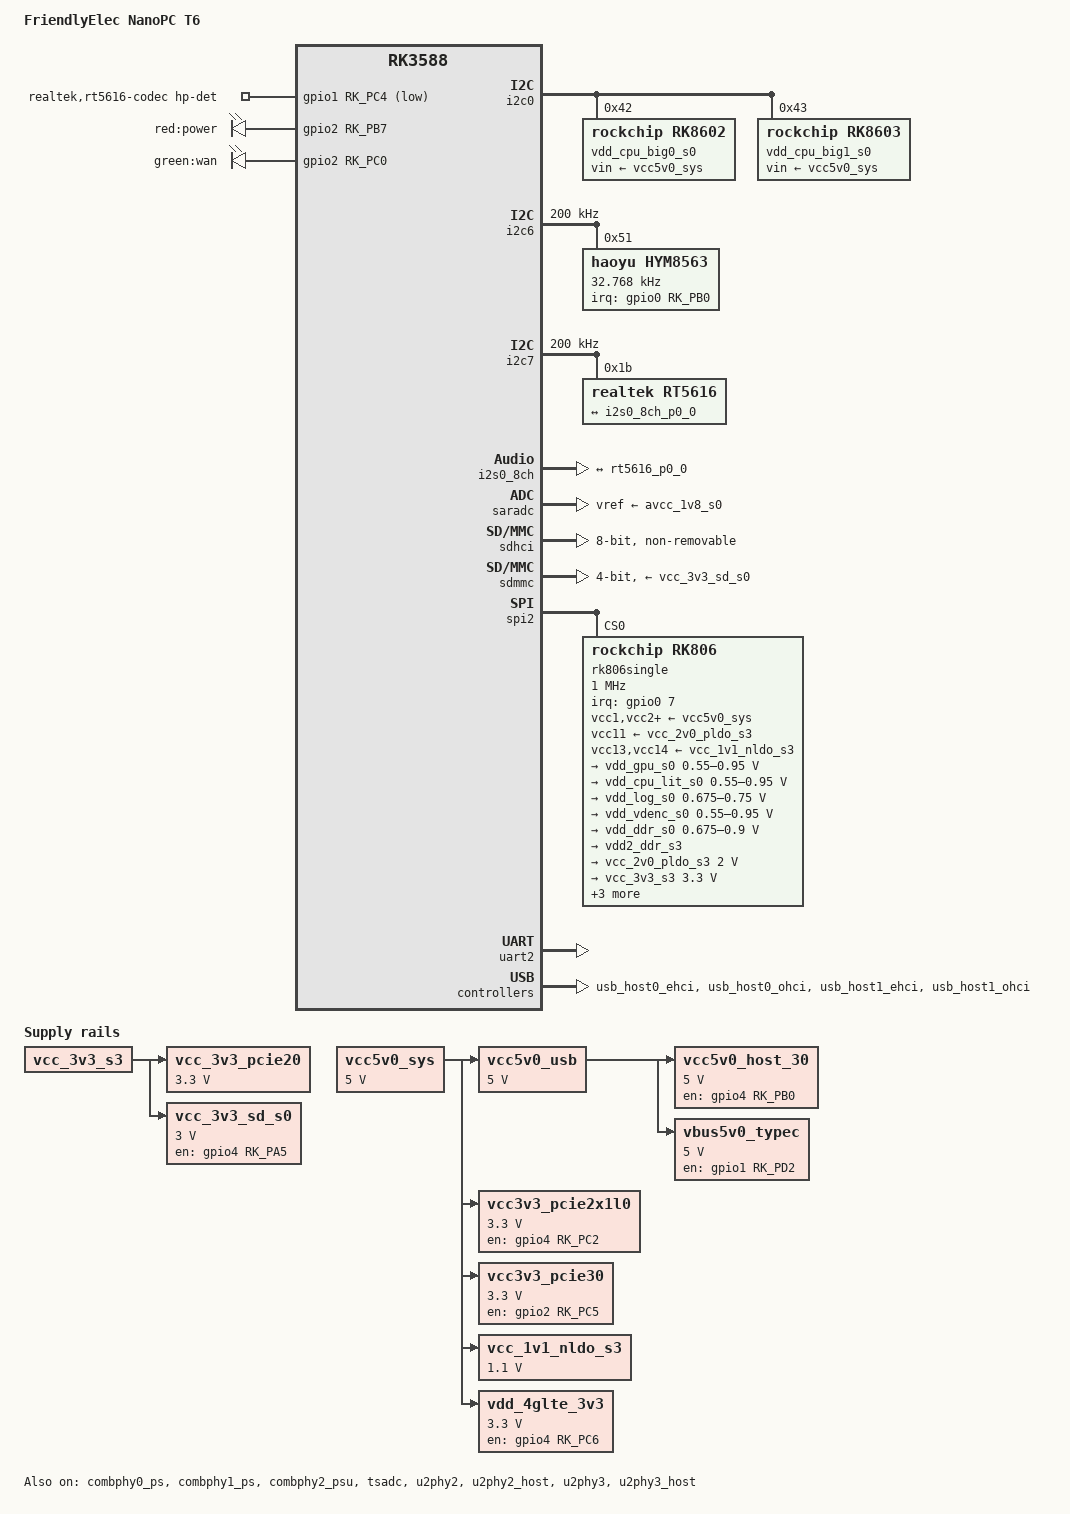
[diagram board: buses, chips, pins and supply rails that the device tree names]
// SPDX-License-Identifier: GPL-2.0-or-later OR MIT
/*
 * Copyright (c) 2022 FriendlyElec Computer Tech. Co., Ltd.
 * (http://www.friendlyelec.com)
 *
 * Copyright (c) 2023 Thomas McKahan <tmckahan@singleboardsolutions.com>
 * Copyright (c) 2023 Tianling Shen <cnsztl@gmail.com>
 */

/dts-v1/;

#include <dt-bindings/gpio/gpio.h>
#include <dt-bindings/input/input.h>
#include <dt-bindings/leds/common.h>
#include <dt-bindings/pinctrl/rockchip.h>
#include <dt-bindings/usb/pd.h>
#include "rk3588.dtsi"

/ {
	model = "FriendlyElec NanoPC T6";
	compatible = "friendlyarm,nanopc-t6", "rockchip,rk3588";

	aliases {
		mmc0 = &sdmmc;
		mmc1 = &sdhci;
		serial2 = &uart2;
	};

	chosen {
		stdout-path = "serial2:1500000n8";
	};

	analog-sound {
		compatible = "audio-graph-card";
		label = "realtek,rt5616-codec";


		widgets = "Headphone", "Headphones",
			  "Microphone", "Mic Jack";

		routing = "Headphones", "HPOL",
			  "Headphones", "HPOR",
			  "MIC1", "Mic Jack",
			  "Mic Jack", "MICBIAS1";

		dais = <&i2s0_8ch_p0>;
		hp-det-gpio = <&gpio1 RK_PC4 GPIO_ACTIVE_LOW>;
		pinctrl-names = "default";
		pinctrl-0 = <&hp_detect>;
	};

	gpio-leds {
		compatible = "gpio-leds";
		pinctrl-names = "default";
		pinctrl-0 = <&power_led_pin>, <&wan_led_pin>;

		power_led: led-power {
			label = "red:power";
			gpios = <&gpio2 RK_PB7 GPIO_ACTIVE_HIGH>;
		};

		led-wan {
			label = "green:wan";
			gpios = <&gpio2 RK_PC0 GPIO_ACTIVE_HIGH>;
		};
	};

	vcc5v0_sys: vcc5v0-sys-regulator {
		compatible = "regulator-fixed";
		regulator-name = "vcc5v0_sys";
		regulator-always-on;
		regulator-boot-on;
		regulator-min-microvolt = <5000000>;
		regulator-max-microvolt = <5000000>;
	};

	vcc5v0_usb: vcc5v0-usb-regulator {
		compatible = "regulator-fixed";
		regulator-name = "vcc5v0_usb";
		regulator-always-on;
		regulator-boot-on;
		regulator-min-microvolt = <5000000>;
		regulator-max-microvolt = <5000000>;
		vin-supply = <&vcc5v0_sys>;
	};

	vcc5v0_host_30: vcc5v0-host-30-regulator {
		compatible = "regulator-fixed";
		regulator-name = "vcc5v0_host_30";
		regulator-min-microvolt = <5000000>;
		regulator-max-microvolt = <5000000>;
		enable-active-high;
		gpio = <&gpio4 RK_PB0 GPIO_ACTIVE_HIGH>;
		vin-supply = <&vcc5v0_usb>;
		pinctrl-names = "default";
		pinctrl-0 = <&vcc5v0_host30_en>;
	};

	vcc3v3_pcie2x1l0: vcc3v3-pcie2x1l0-regulator {
		compatible = "regulator-fixed";
		regulator-name = "vcc3v3_pcie2x1l0";
		regulator-min-microvolt = <3300000>;
		regulator-max-microvolt = <3300000>;
		enable-active-high;
		gpio = <&gpio4 RK_PC2 GPIO_ACTIVE_HIGH>;
		vin-supply = <&vcc5v0_sys>;
		pinctrl-names = "default";
		pinctrl-0 = <&pcie2_0_vcc3v3_en>;
	};

	vcc3v3_pcie30: vcc3v3-pcie30-regulator {
		compatible = "regulator-fixed";
		regulator-name = "vcc3v3_pcie30";
		regulator-min-microvolt = <3300000>;
		regulator-max-microvolt = <3300000>;
		enable-active-high;
		gpios = <&gpio2 RK_PC5 GPIO_ACTIVE_HIGH>;
		vin-supply = <&vcc5v0_sys>;
		pinctrl-names = "default";
		pinctrl-0 = <&pcie3_vcc3v3_en>;
	};

	vcc_1v1_nldo_s3: vcc-1v1-nldo-s3-regulator {
		compatible = "regulator-fixed";
		regulator-name = "vcc_1v1_nldo_s3";
		regulator-always-on;
		regulator-boot-on;
		regulator-min-microvolt = <1100000>;
		regulator-max-microvolt = <1100000>;
		vin-supply = <&vcc5v0_sys>;
	};

	vcc_3v3_pcie20: vcc3v3-pcie20-regulator {
		compatible = "regulator-fixed";
		regulator-name = "vcc_3v3_pcie20";
		regulator-always-on;
		regulator-boot-on;
		regulator-min-microvolt = <3300000>;
		regulator-max-microvolt = <3300000>;
		vin-supply = <&vcc_3v3_s3>;
	};

	vcc_3v3_sd_s0: vcc-3v3-sd-s0-regulator {
		compatible = "regulator-fixed";
		regulator-always-on;
		regulator-boot-on;
		regulator-max-microvolt = <3000000>;
		regulator-min-microvolt = <3000000>;
		regulator-name = "vcc_3v3_sd_s0";
		enable-active-high;
		gpio = <&gpio4 RK_PA5 GPIO_ACTIVE_HIGH>;
		vin-supply = <&vcc_3v3_s3>;
		pinctrl-names = "default";
		pinctrl-0 = <&vcc3v3_sd_en>;
	};

	vbus5v0_typec: vbus5v0-typec-regulator {
		compatible = "regulator-fixed";
		regulator-name = "vbus5v0_typec";
		regulator-min-microvolt = <5000000>;
		regulator-max-microvolt = <5000000>;
		enable-active-high;
		gpio = <&gpio1 RK_PD2 GPIO_ACTIVE_HIGH>;
		vin-supply = <&vcc5v0_usb>;
		pinctrl-names = "default";
		pinctrl-0 = <&vbus5v0_typec_en>;
	};

	vdd_4glte_3v3: vdd-4glte-3v3-regulator {
		compatible = "regulator-fixed";
		regulator-always-on;
		regulator-boot-on;
		regulator-name = "vdd_4glte_3v3";
		regulator-min-microvolt = <3300000>;
		regulator-max-microvolt = <3300000>;
		enable-active-high;
		gpio = <&gpio4 RK_PC6 GPIO_ACTIVE_HIGH>;
		startup-delay-us = <10000>;
		vin-supply = <&vcc5v0_sys>;
	};
};

&combphy0_ps {
	status = "okay";
};

&combphy1_ps {
	status = "okay";
};

&combphy2_psu {
	status = "okay";
};

&cpu_l0 {
	cpu-supply = <&vdd_cpu_lit_s0>;
	mem-supply = <&vdd_cpu_lit_mem_s0>;
};

&cpu_b0 {
	cpu-supply = <&vdd_cpu_big0_s0>;
	mem-supply = <&vdd_cpu_big0_mem_s0>;
};

&cpu_b2 {
	cpu-supply = <&vdd_cpu_big1_s0>;
	mem-supply = <&vdd_cpu_big1_mem_s0>;
};

&gpio0 {
	gpio-line-names = /* GPIO0 A0-A7 */
			  "", "", "", "",
			  "", "", "", "",
			  /* GPIO0 B0-B7 */
			  "", "", "", "",
			  "", "", "", "",
			  /* GPIO0 C0-C7 */
			  "", "", "", "",
			  "HEADER_10", "HEADER_08", "HEADER_32", "",
			  /* GPIO0 D0-D7 */
			  "", "", "", "",
			  "", "", "", "";
};

&gpio1 {
	gpio-line-names = /* GPIO1 A0-A7 */
			  "HEADER_27", "HEADER_28", "", "",
			  "", "", "", "HEADER_15",
			  /* GPIO1 B0-B7 */
			  "HEADER_26", "HEADER_21", "HEADER_19", "HEADER_23",
			  "HEADER_24", "HEADER_22", "", "",
			  /* GPIO1 C0-C7 */
			  "", "", "", "",
			  "", "", "", "",
			  /* GPIO1 D0-D7 */
			  "", "", "", "",
			  "", "", "HEADER_05", "HEADER_03";
};

&gpio2 {
	gpio-line-names = /* GPIO2 A0-A7 */
			  "", "", "", "",
			  "", "", "", "",
			  /* GPIO2 B0-B7 */
			  "", "", "", "",
			  "", "", "", "",
			  /* GPIO2 C0-C7 */
			  "", "CSI1_11", "CSI1_12", "",
			  "", "", "", "",
			  /* GPIO2 D0-D7 */
			  "", "", "", "",
			  "", "", "", "";
};

&gpio3 {
	gpio-line-names = /* GPIO3 A0-A7 */
			  "HEADER_35", "HEADER_38", "HEADER_40", "HEADER_36",
			  "HEADER_37", "", "DSI0_12", "",
			  /* GPIO3 B0-B7 */
			  "HEADER_33", "DSI0_10", "HEADER_07", "HEADER_16",
			  "HEADER_18", "HEADER_29", "HEADER_31", "HEADER_12",
			  /* GPIO3 C0-C7 */
			  "DSI0_08", "DSI0_14", "HEADER_11", "HEADER_13",
			  "", "", "", "",
			  /* GPIO3 D0-D7 */
			  "", "", "", "",
			  "", "DSI1_10", "", "";
};

&gpio4 {
	gpio-line-names = /* GPIO4 A0-A7 */
			  "DSI1_08", "DSI1_14", "", "DSI1_12",
			  "", "", "", "",
			  /* GPIO4 B0-B7 */
			  "", "", "", "",
			  "", "", "", "",
			  /* GPIO4 C0-C7 */
			  "", "", "", "",
			  "CSI0_11", "CSI0_12", "", "",
			  /* GPIO4 D0-D7 */
			  "", "", "", "",
			  "", "", "", "";
};

&i2c0 {
	pinctrl-names = "default";
	pinctrl-0 = <&i2c0m2_xfer>;
	status = "okay";

	vdd_cpu_big0_s0: vdd_cpu_big0_mem_s0: regulator@42 {
		compatible = "rockchip,rk8602";
		reg = <0x42>;
		fcs,suspend-voltage-selector = <1>;
		regulator-name = "vdd_cpu_big0_s0";
		regulator-always-on;
		regulator-boot-on;
		regulator-min-microvolt = <550000>;
		regulator-max-microvolt = <1050000>;
		regulator-ramp-delay = <2300>;
		vin-supply = <&vcc5v0_sys>;

		regulator-state-mem {
			regulator-off-in-suspend;
		};
	};

	vdd_cpu_big1_s0: vdd_cpu_big1_mem_s0: regulator@43 {
		compatible = "rockchip,rk8603", "rockchip,rk8602";
		reg = <0x43>;
		fcs,suspend-voltage-selector = <1>;
		regulator-name = "vdd_cpu_big1_s0";
		regulator-always-on;
		regulator-boot-on;
		regulator-min-microvolt = <550000>;
		regulator-max-microvolt = <1050000>;
		regulator-ramp-delay = <2300>;
		vin-supply = <&vcc5v0_sys>;

		regulator-state-mem {
			regulator-off-in-suspend;
		};
	};
};

&i2c6 {
	clock-frequency = <200000>;
	status = "okay";

	hym8563: rtc@51 {
		compatible = "haoyu,hym8563";
		reg = <0x51>;
		#clock-cells = <0>;
		clock-frequency = <32768>;
		clock-output-names = "hym8563";
		pinctrl-names = "default";
		pinctrl-0 = <&hym8563_int>;
		interrupt-parent = <&gpio0>;
		interrupts = <RK_PB0 IRQ_TYPE_LEVEL_LOW>;
		wakeup-source;
	};
};

&i2c7 {
	clock-frequency = <200000>;
	status = "okay";

	rt5616: audio-codec@1b {
		compatible = "realtek,rt5616";
		reg = <0x1b>;
		clocks = <&cru I2S0_8CH_MCLKOUT>;
		clock-names = "mclk";
		assigned-clocks = <&cru I2S0_8CH_MCLKOUT>;
		assigned-clock-rates = <12288000>;
		#sound-dai-cells = <0>;

		port {
			rt5616_p0_0: endpoint {
				remote-endpoint = <&i2s0_8ch_p0_0>;
			};
		};
	};
};

&i2s0_8ch {
	pinctrl-names = "default";
	pinctrl-0 = <&i2s0_lrck
		     &i2s0_mclk
		     &i2s0_sclk
		     &i2s0_sdi0
		     &i2s0_sdo0>;
	status = "okay";

	i2s0_8ch_p0: port {
		i2s0_8ch_p0_0: endpoint {
			dai-format = "i2s";
			mclk-fs = <256>;
			remote-endpoint = <&rt5616_p0_0>;
		};
	};
};

&pinctrl {
	gpio-leds {
		power_led_pin: power-led-pin {
			rockchip,pins = <2 RK_PB7 RK_FUNC_GPIO &pcfg_pull_none>;
		};

		wan_led_pin: wan-led-pin {
			rockchip,pins = <2 RK_PC0 RK_FUNC_GPIO &pcfg_pull_none>;
		};
	};

	hym8563 {
		hym8563_int: hym8563-int {
			rockchip,pins = <0 RK_PB0 RK_FUNC_GPIO &pcfg_pull_up>;
		};
	};

	pcie2 {
		pcie2_0_vcc3v3_en: pcie2-0-vcc-en {
			rockchip,pins = <4 RK_PC2 RK_FUNC_GPIO &pcfg_pull_none>;
		};
	};

	pcie3 {
		pcie3_vcc3v3_en: pcie3-vcc3v3-en {
			rockchip,pins = <2 RK_PC5 RK_FUNC_GPIO &pcfg_pull_none>;
		};
	};

	rockchip-key {
		reset_button_pin: reset-button-pin {
			rockchip,pins = <1 RK_PC0 RK_FUNC_GPIO &pcfg_pull_up>;
		};
	};

	sdmmc {
		vcc3v3_sd_en: vcc3v3-sd-en {
			rockchip,pins = <4 RK_PA5 RK_FUNC_GPIO &pcfg_pull_up>;
		};
	};

	sound {
		hp_detect: hp-detect {
			rockchip,pins = <1 RK_PC4 RK_FUNC_GPIO &pcfg_pull_none>;
		};
	};

	usb {
		usbc0_int: usbc0-int {
			rockchip,pins = <0 RK_PD3 RK_FUNC_GPIO &pcfg_pull_up>;
		};

		vbus5v0_typec_en: vbus5v0-typec-en {
			rockchip,pins = <1 RK_PD2 RK_FUNC_GPIO &pcfg_pull_none>;
		};

		vcc5v0_host30_en: vcc5v0-host30-en {
			rockchip,pins = <4 RK_PB0 RK_FUNC_GPIO &pcfg_pull_none>;
		};

	};
};

&saradc {
	vref-supply = <&avcc_1v8_s0>;
	status = "okay";
};

&sdhci {
	bus-width = <8>;
	cap-mmc-highspeed;
	max-frequency = <200000000>;
	mmc-hs200-1_8v;
	no-sdio;
	no-sd;
	non-removable;
	status = "okay";
};

&sdmmc {
	bus-width = <4>;
	cap-mmc-highspeed;
	cap-sd-highspeed;
	disable-wp;
	max-frequency = <150000000>;
	no-sdio;
	no-mmc;
	pinctrl-names = "default";
	pinctrl-0 = <&sdmmc_bus4 &sdmmc_clk &sdmmc_cmd &sdmmc_det>;
	vmmc-supply = <&vcc_3v3_sd_s0>;
	vqmmc-supply = <&vccio_sd_s0>;
	status = "okay";
};

&spi2 {
	status = "okay";
	assigned-clocks = <&cru CLK_SPI2>;
	assigned-clock-rates = <200000000>;
	pinctrl-names = "default";
	pinctrl-0 = <&spi2m2_cs0 &spi2m2_pins>;
	num-cs = <1>;

	rk806single: rk806single@0 {
		compatible = "rockchip,rk806";
		spi-max-frequency = <1000000>;
		reg = <0x0>;

		interrupt-parent = <&gpio0>;
		interrupts = <7 IRQ_TYPE_LEVEL_LOW>;

		pinctrl-names = "default";
		pinctrl-0 = <&pmic_pins>, <&rk806_dvs1_null>, <&rk806_dvs2_null>, <&rk806_dvs3_null>;

		vcc1-supply = <&vcc5v0_sys>;
		vcc2-supply = <&vcc5v0_sys>;
		vcc3-supply = <&vcc5v0_sys>;
		vcc4-supply = <&vcc5v0_sys>;
		vcc5-supply = <&vcc5v0_sys>;
		vcc6-supply = <&vcc5v0_sys>;
		vcc7-supply = <&vcc5v0_sys>;
		vcc8-supply = <&vcc5v0_sys>;
		vcc9-supply = <&vcc5v0_sys>;
		vcc10-supply = <&vcc5v0_sys>;
		vcc11-supply = <&vcc_2v0_pldo_s3>;
		vcc12-supply = <&vcc5v0_sys>;
		vcc13-supply = <&vcc_1v1_nldo_s3>;
		vcc14-supply = <&vcc_1v1_nldo_s3>;
		vcca-supply = <&vcc5v0_sys>;

		gpio-controller;
		#gpio-cells = <2>;

		rk806_dvs1_null: dvs1-null-pins {
			pins = "gpio_pwrctrl2";
			function = "pin_fun0";
		};

		rk806_dvs1_slp: dvs1-slp-pins {
			pins = "gpio_pwrctrl1";
			function = "pin_fun1";
		};

		rk806_dvs1_pwrdn: dvs1-pwrdn-pins {
			pins = "gpio_pwrctrl1";
			function = "pin_fun2";
		};

		rk806_dvs1_rst: dvs1-rst-pins {
			pins = "gpio_pwrctrl1";
			function = "pin_fun3";
		};

		rk806_dvs2_null: dvs2-null-pins {
			pins = "gpio_pwrctrl2";
			function = "pin_fun0";
		};

		rk806_dvs2_slp: dvs2-slp-pins {
			pins = "gpio_pwrctrl2";
			function = "pin_fun1";
		};

		rk806_dvs2_pwrdn: dvs2-pwrdn-pins {
			pins = "gpio_pwrctrl2";
			function = "pin_fun2";
		};

		rk806_dvs2_rst: dvs2-rst-pins {
			pins = "gpio_pwrctrl2";
			function = "pin_fun3";
		};

		rk806_dvs2_dvs: dvs2-dvs-pins {
			pins = "gpio_pwrctrl2";
			function = "pin_fun4";
		};

		rk806_dvs2_gpio: dvs2-gpio-pins {
			pins = "gpio_pwrctrl2";
			function = "pin_fun5";
		};

		rk806_dvs3_null: dvs3-null-pins {
			pins = "gpio_pwrctrl3";
			function = "pin_fun0";
		};

		rk806_dvs3_slp: dvs3-slp-pins {
			pins = "gpio_pwrctrl3";
			function = "pin_fun1";
		};

		rk806_dvs3_pwrdn: dvs3-pwrdn-pins {
			pins = "gpio_pwrctrl3";
			function = "pin_fun2";
		};

		rk806_dvs3_rst: dvs3-rst-pins {
			pins = "gpio_pwrctrl3";
			function = "pin_fun3";
		};

		rk806_dvs3_dvs: dvs3-dvs-pins {
			pins = "gpio_pwrctrl3";
			function = "pin_fun4";
		};

		rk806_dvs3_gpio: dvs3-gpio-pins {
			pins = "gpio_pwrctrl3";
			function = "pin_fun5";
		};

		regulators {
			vdd_gpu_s0: vdd_gpu_mem_s0: dcdc-reg1 {
				regulator-boot-on;
				regulator-min-microvolt = <550000>;
				regulator-max-microvolt = <950000>;
				regulator-ramp-delay = <12500>;
				regulator-name = "vdd_gpu_s0";
				regulator-enable-ramp-delay = <400>;

				regulator-state-mem {
					regulator-off-in-suspend;
				};
			};

			vdd_cpu_lit_s0: vdd_cpu_lit_mem_s0: dcdc-reg2 {
				regulator-always-on;
				regulator-boot-on;
				regulator-min-microvolt = <550000>;
				regulator-max-microvolt = <950000>;
				regulator-ramp-delay = <12500>;
				regulator-name = "vdd_cpu_lit_s0";
				regulator-state-mem {
					regulator-off-in-suspend;
				};
			};

			vdd_log_s0: dcdc-reg3 {
				regulator-always-on;
				regulator-boot-on;
				regulator-min-microvolt = <675000>;
				regulator-max-microvolt = <750000>;
				regulator-ramp-delay = <12500>;
				regulator-name = "vdd_log_s0";

				regulator-state-mem {
					regulator-off-in-suspend;
					regulator-suspend-microvolt = <750000>;
				};
			};

			vdd_vdenc_s0: vdd_vdenc_mem_s0: dcdc-reg4 {
				regulator-always-on;
				regulator-boot-on;
				regulator-min-microvolt = <550000>;
				regulator-max-microvolt = <950000>;
				regulator-init-microvolt = <750000>;
				regulator-ramp-delay = <12500>;
				regulator-name = "vdd_vdenc_s0";

				regulator-state-mem {
					regulator-off-in-suspend;
				};
			};

			vdd_ddr_s0: dcdc-reg5 {
				regulator-always-on;
				regulator-boot-on;
				regulator-min-microvolt = <675000>;
				regulator-max-microvolt = <900000>;
				regulator-ramp-delay = <12500>;
				regulator-name = "vdd_ddr_s0";

				regulator-state-mem {
					regulator-off-in-suspend;
					regulator-suspend-microvolt = <850000>;
				};
			};

			vdd2_ddr_s3: dcdc-reg6 {
				regulator-always-on;
				regulator-boot-on;
				regulator-name = "vdd2_ddr_s3";

				regulator-state-mem {
					regulator-on-in-suspend;
				};
			};

			vcc_2v0_pldo_s3: dcdc-reg7 {
				regulator-always-on;
				regulator-boot-on;
				regulator-min-microvolt = <2000000>;
				regulator-max-microvolt = <2000000>;
				regulator-ramp-delay = <12500>;
				regulator-name = "vdd_2v0_pldo_s3";

				regulator-state-mem {
					regulator-on-in-suspend;
					regulator-suspend-microvolt = <2000000>;
				};
			};

			vcc_3v3_s3: dcdc-reg8 {
				regulator-always-on;
				regulator-boot-on;
				regulator-min-microvolt = <3300000>;
				regulator-max-microvolt = <3300000>;
				regulator-name = "vcc_3v3_s3";

				regulator-state-mem {
					regulator-on-in-suspend;
					regulator-suspend-microvolt = <3300000>;
				};
			};

			vddq_ddr_s0: dcdc-reg9 {
				regulator-always-on;
				regulator-boot-on;
				regulator-name = "vddq_ddr_s0";

				regulator-state-mem {
					regulator-off-in-suspend;
				};
			};

			vcc_1v8_s3: dcdc-reg10 {
				regulator-always-on;
				regulator-boot-on;
				regulator-min-microvolt = <1800000>;
				regulator-max-microvolt = <1800000>;
				regulator-name = "vcc_1v8_s3";

				regulator-state-mem {
					regulator-on-in-suspend;
					regulator-suspend-microvolt = <1800000>;
				};
			};

			avcc_1v8_s0: pldo-reg1 {
				regulator-always-on;
				regulator-boot-on;
				regulator-min-microvolt = <1800000>;
				regulator-max-microvolt = <1800000>;
				regulator-name = "avcc_1v8_s0";

				regulator-state-mem {
					regulator-off-in-suspend;
				};
			};

			vcc_1v8_s0: pldo-reg2 {
				regulator-always-on;
				regulator-boot-on;
				regulator-min-microvolt = <1800000>;
				regulator-max-microvolt = <1800000>;
				regulator-name = "vcc_1v8_s0";

				regulator-state-mem {
					regulator-off-in-suspend;
					regulator-suspend-microvolt = <1800000>;
				};
			};

			avdd_1v2_s0: pldo-reg3 {
				regulator-always-on;
				regulator-boot-on;
				regulator-min-microvolt = <1200000>;
				regulator-max-microvolt = <1200000>;
				regulator-name = "avdd_1v2_s0";

				regulator-state-mem {
					regulator-off-in-suspend;
				};
			};

			vcc_3v3_s0: pldo-reg4 {
				regulator-always-on;
				regulator-boot-on;
				regulator-min-microvolt = <3300000>;
				regulator-max-microvolt = <3300000>;
				regulator-ramp-delay = <12500>;
				regulator-name = "vcc_3v3_s0";

				regulator-state-mem {
					regulator-off-in-suspend;
				};
			};

			vccio_sd_s0: pldo-reg5 {
				regulator-always-on;
				regulator-boot-on;
				regulator-min-microvolt = <1800000>;
				regulator-max-microvolt = <3300000>;
				regulator-ramp-delay = <12500>;
				regulator-name = "vccio_sd_s0";

				regulator-state-mem {
					regulator-off-in-suspend;
				};
			};

			pldo6_s3: pldo-reg6 {
				regulator-always-on;
				regulator-boot-on;
				regulator-min-microvolt = <1800000>;
				regulator-max-microvolt = <1800000>;
				regulator-name = "pldo6_s3";

				regulator-state-mem {
					regulator-on-in-suspend;
					regulator-suspend-microvolt = <1800000>;
				};
			};

			vdd_0v75_s3: nldo-reg1 {
				regulator-always-on;
				regulator-boot-on;
				regulator-min-microvolt = <750000>;
				regulator-max-microvolt = <750000>;
				regulator-name = "vdd_0v75_s3";

				regulator-state-mem {
					regulator-on-in-suspend;
					regulator-suspend-microvolt = <750000>;
				};
			};

			vdd_ddr_pll_s0: nldo-reg2 {
				regulator-always-on;
				regulator-boot-on;
				regulator-min-microvolt = <850000>;
				regulator-max-microvolt = <850000>;
				regulator-name = "vdd_ddr_pll_s0";

				regulator-state-mem {
					regulator-off-in-suspend;
					regulator-suspend-microvolt = <850000>;
				};
			};

			avdd_0v75_s0: nldo-reg3 {
				regulator-always-on;
				regulator-boot-on;
				regulator-min-microvolt = <750000>;
				regulator-max-microvolt = <750000>;
				regulator-name = "avdd_0v75_s0";

				regulator-state-mem {
					regulator-off-in-suspend;
				};
			};

			vdd_0v85_s0: nldo-reg4 {
				regulator-always-on;
				regulator-boot-on;
				regulator-min-microvolt = <850000>;
				regulator-max-microvolt = <850000>;
				regulator-name = "vdd_0v85_s0";

				regulator-state-mem {
					regulator-off-in-suspend;
				};
			};

			vdd_0v75_s0: nldo-reg5 {
				regulator-always-on;
				regulator-boot-on;
				regulator-min-microvolt = <750000>;
				regulator-max-microvolt = <750000>;
				regulator-name = "vdd_0v75_s0";

				regulator-state-mem {
					regulator-off-in-suspend;
				};
			};
		};
	};
};

&tsadc {
	status = "okay";
};

&uart2 {
	pinctrl-0 = <&uart2m0_xfer>;
	status = "okay";
};

&u2phy2 {
	status = "okay";
};

&u2phy2_host {
	status = "okay";
};

&u2phy3 {
	status = "okay";
};

&u2phy3_host {
	status = "okay";
};

&usb_host0_ehci {
	status = "okay";
};

&usb_host0_ohci {
	status = "okay";
};

&usb_host1_ehci {
	status = "okay";
};

&usb_host1_ohci {
	status = "okay";
};
